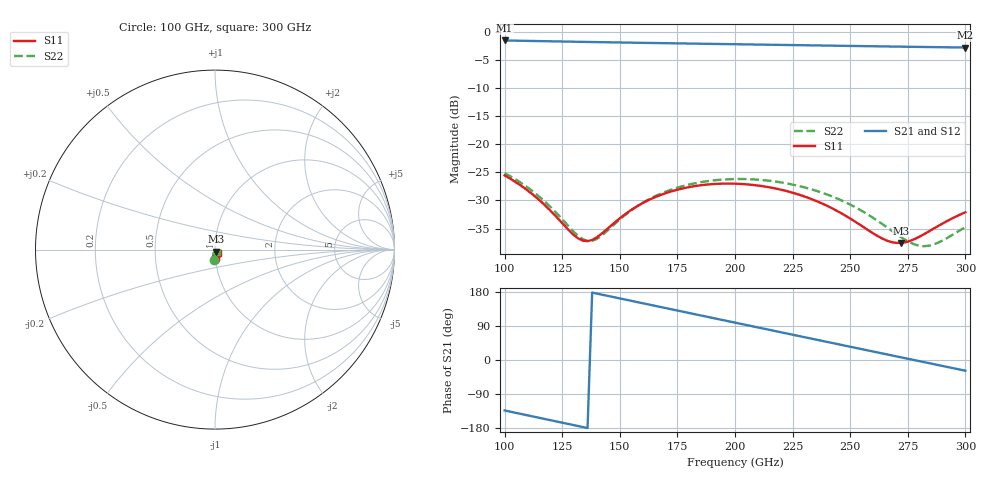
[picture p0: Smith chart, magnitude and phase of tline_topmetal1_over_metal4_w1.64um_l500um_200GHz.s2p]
#  GHZ S DB R 50
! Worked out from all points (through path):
!   101 points, 100 GHz to 300 GHz, reference 50 ohm
!   highest |S21| = -1.49 dB at 100 GHz (marker M1); lowest = -2.8 dB at 300 GHz (marker M2)
!   group delay of S21, straight-line fit = 3.54 ps
!   lowest |S11| = -37.6 dB at 272 GHz (marker M3), VSWR 1.03, Z = 50.5 - j1.22 ohm
!   |S11| at or under -10 dB: start of sweep to end of sweep
!   |S22| runs from -38.1 to -25.1 dB; largest |S21 - S12| = 9.6e-14
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100  -25.53 -92.3  -1.49 -133.1  -1.49 -133.1  -25.13 -93.9
110  -28.23 -99.1  -1.57 -146.1  -1.57 -146.1  -27.70 -101.4
118  -31.05 -100.4  -1.63 -156.4  -1.63 -156.4  -30.40 -103.9
130  -36.15 -82.7  -1.72 -171.8  -1.72 -171.8  -35.58 -90.3
134  -37.17 -67.6  -1.75 -177.0  -1.75 -177.0  -36.93 -76.4
136  -37.25 -59.2  -1.76 -179.5  -1.76 -179.5  -37.22 -67.8
140  -36.58 -44.2  -1.79 175.3  -1.79 175.3  -36.86 -51.2
156  -31.42 -26.2  -1.89 154.8  -1.89 154.8  -31.46 -28.6
168  -28.98 -32.1  -1.97 139.5  -1.97 139.5  -28.75 -34.1
184  -27.36 -45.8  -2.07 119.0  -2.07 119.0  -26.83 -48.0
200  -27.02 -61.3  -2.17 98.6  -2.17 98.6  -26.19 -64.2
216  -27.74 -76.6  -2.26 78.2  -2.26 78.2  -26.55 -80.7
224  -28.51 -83.7  -2.31 68.0  -2.31 68.0  -27.09 -88.7
234  -29.89 -91.2  -2.37 55.3  -2.37 55.3  -28.12 -97.9
252  -33.74 -96.1  -2.48 32.5  -2.48 32.5  -31.16 -110.6
262  -36.36 -87.2  -2.54 19.8  -2.54 19.8  -33.65 -112.2
268  -37.43 -75.3  -2.58 12.2  -2.58 12.2  -35.39 -109.0
272  -37.57 -65.7  -2.60 7.1  -2.60 7.1  -36.53 -104.3
278  -36.87 -52.9  -2.63 -0.5  -2.63 -0.5  -37.85 -92.3
284  -35.55 -45.0  -2.67 -8.1  -2.67 -8.1  -38.08 -77.0
290  -34.13 -41.6  -2.70 -15.6  -2.70 -15.6  -37.16 -64.2
300  -32.11 -42.6  -2.76 -28.3  -2.76 -28.3  -34.76 -54.9
